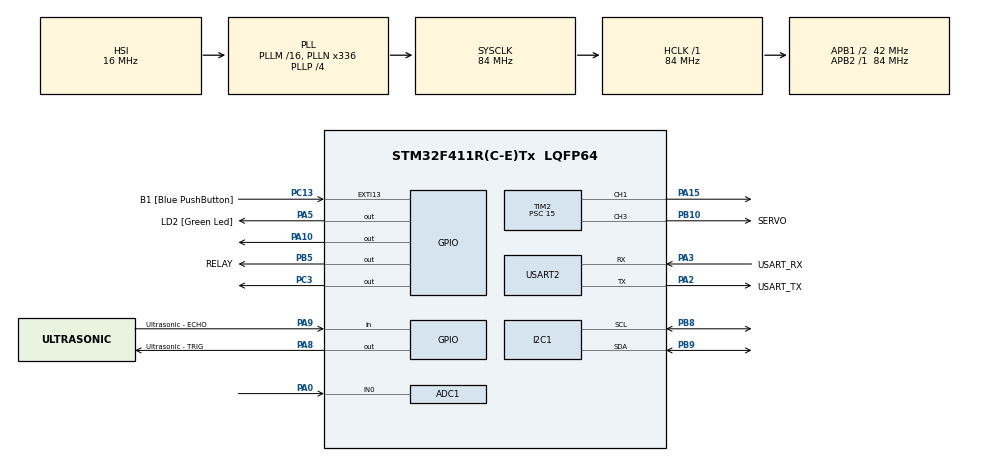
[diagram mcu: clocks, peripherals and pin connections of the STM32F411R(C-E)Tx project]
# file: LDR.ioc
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ADC1.Channel-0\#ChannelRegularConversion=ADC_CHANNEL_0
ADC1.ContinuousConvMode=ENABLE
ADC1.NbrOfConversionFlag=1
ADC1.Rank-0\#ChannelRegularConversion=1
ADC1.SamplingTime-0\#ChannelRegularConversion=ADC_SAMPLETIME_3CYCLES
ADC1.ScanConvMode=ENABLE
ADC1.master=1
Mcu.Family=STM32F4
Mcu.Name=STM32F411R(C-E)Tx
Mcu.Package=LQFP64
NVIC.PriorityGroup=NVIC_PRIORITYGROUP_0
PA0-WKUP.Signal=ADCx_IN0
PA10.Signal=GPIO_Output
PA13.GPIO_Label=TMS
PA13.Mode=Serial_Wire
PA13.Signal=SYS_JTMS-SWDIO
PA14.GPIO_Label=TCK
PA14.Mode=Serial_Wire
PA14.Signal=SYS_JTCK-SWCLK
PA15.Signal=S_TIM2_CH1_ETR
PA2.GPIO_Label=USART_TX
PA2.Mode=Asynchronous
PA2.Signal=USART2_TX
PA3.GPIO_Label=USART_RX
PA3.Mode=Asynchronous
PA3.Signal=USART2_RX
PA5.GPIO_Label=LD2 [Green Led]
PA5.Signal=GPIO_Output
PA8.GPIO_Label=Ultrasonic - TRIG
PA8.Signal=GPIO_Output
PA9.GPIO_Label=Ultrasonic - ECHO
PA9.Signal=GPIO_Input
PB10.GPIO_Label=SERVO
PB10.Signal=S_TIM2_CH3
PB3.GPIO_Label=SWO
PB3.Signal=SYS_JTDO-SWO
PB5.GPIO_Label=RELAY
PB5.Signal=GPIO_Output
PB8.Mode=I2C
PB8.Signal=I2C1_SCL
PB9.Mode=I2C
PB9.Signal=I2C1_SDA
PC13-ANTI_TAMP.GPIO_Label=B1 [Blue PushButton]
PC13-ANTI_TAMP.GPIO_ModeDefaultEXTI=GPIO_MODE_IT_FALLING
PC13-ANTI_TAMP.Signal=GPXTI13
PC14-OSC32_IN.Mode=LSE-External-Oscillator
PC14-OSC32_IN.Signal=RCC_OSC32_IN
PC15-OSC32_OUT.Mode=LSE-External-Oscillator
PC15-OSC32_OUT.Signal=RCC_OSC32_OUT
PC3.Signal=GPIO_Output
PH0\ -\ OSC_IN.Mode=HSE-External-Oscillator
PH0\ -\ OSC_IN.Signal=RCC_OSC_IN
PH1\ -\ OSC_OUT.Mode=HSE-External-Oscillator
PH1\ -\ OSC_OUT.Signal=RCC_OSC_OUT
ProjectManager.HeapSize=0x200
ProjectManager.StackSize=0x400
ProjectManager.TargetToolchain=STM32CubeIDE
RCC.48MHZClocksFreq_Value=84000000
RCC.AHBFreq_Value=84000000
RCC.APB1CLKDivider=RCC_HCLK_DIV2
RCC.APB1Freq_Value=42000000
RCC.APB1TimFreq_Value=84000000
RCC.APB2Freq_Value=84000000
RCC.APB2TimFreq_Value=84000000
RCC.CortexFreq_Value=84000000
RCC.FLatency-AdvancedSettings=FLASH_LATENCY_2
RCC.HCLKFreq_Value=84000000
RCC.HSE_VALUE=8000000
RCC.HSI_VALUE=16000000
RCC.PLLN=336
RCC.PLLP=RCC_PLLP_DIV4
RCC.SYSCLKFreq_VALUE=84000000
RCC.SYSCLKSource=RCC_SYSCLKSOURCE_PLLCLK
RCC.VCOOutputFreq_Value=336000000
SH.ADCx_IN0.0=ADC1_IN0,IN0
SH.S_TIM2_CH1_ETR.0=TIM2_CH1,PWM Generation1 CH1
SH.S_TIM2_CH3.0=TIM2_CH3,PWM Generation3 CH3
TIM2.AutoReloadPreload=TIM_AUTORELOAD_PRELOAD_ENABLE
TIM2.Channel-PWM\ Generation1\ CH1=TIM_CHANNEL_1
TIM2.Channel-PWM\ Generation3\ CH3=TIM_CHANNEL_3
TIM2.Period=9999
TIM2.Prescaler=15
TIM4.Period=0
TIM4.Prescaler=84-1
USART2.VirtualMode=VM_ASYNC
VP_TIM2_VS_ClockSourceINT.Mode=Internal
VP_TIM4_VS_ClockSourceINT.Mode=Internal
board=NUCLEO-F411RE

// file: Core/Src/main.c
/* USER CODE BEGIN Header */
/**
  ******************************************************************************
  * @file           : main.c
  * @brief          : Main program body
  ******************************************************************************
  * @attention
  *
  * Copyright (c) 2022 STMicroelectronics.
  * All rights reserved.
  *
  * This software is licensed under terms that can be found in the LICENSE file
  * in the root directory of this software component.
  * If no LICENSE file comes with this software, it is provided AS-IS.
  *
  ******************************************************************************
  */
/* USER CODE END Header */
#include "main.h"

/* USER CODE BEGIN Includes */
#include <string.h>
#include <stdio.h>
#include "liquidcrystal_i2c.h"
#include "../../ECUAL/SERVO/SERVO.h"
/* USER CODE END Includes */

/* USER CODE BEGIN PTD */
#define usTIM	TIM4
#define SERVO_Motor1 0
/* USER CODE END PTD */

ADC_HandleTypeDef hadc1;

I2C_HandleTypeDef hi2c1;

TIM_HandleTypeDef htim2;
TIM_HandleTypeDef htim4;

UART_HandleTypeDef huart2;

void SystemClock_Config(void);
static void MX_GPIO_Init(void);
static void MX_USART2_UART_Init(void);
static void MX_ADC1_Init(void);
static void MX_TIM4_Init(void);
static void MX_TIM2_Init(void);
static void MX_I2C1_Init(void);
/* USER CODE BEGIN PFP */
void usDelay(uint32_t uSec);
/* USER CODE END PFP */

/* USER CODE BEGIN 0 */
//Speed of sound in cm/usec
const float speedOfSound = 0.0343/2;
float distance;

char uartBuf[100];
/* USER CODE END 0 */

int main(void)
{
  /* USER CODE BEGIN 1 */
	uint32_t numTicks = 0;
	SERVO_Init(SERVO_Motor1);
  /* USER CODE END 1 */

  /* MCU Configuration--------------------------------------------------------*/

  /* Reset of all peripherals, Initializes the Flash interface and the Systick. */
  HAL_Init();

  /* Configure the system clock */
  SystemClock_Config();

  /* Initialize all configured peripherals */
  MX_GPIO_Init();
  MX_USART2_UART_Init();
  MX_ADC1_Init();
  MX_TIM4_Init();
  MX_TIM2_Init();
  MX_I2C1_Init();
  /* USER CODE BEGIN 2 */
  GPIO_TypeDef* TRIG_GPIO_Port = GPIOA;
  GPIO_TypeDef* ECHO_GPIO_Port = GPIOA;
  uint16_t TRIG_Pin = GPIO_PIN_8;
  uint16_t ECHO_Pin = GPIO_PIN_9;

  HAL_TIM_PWM_Start(&htim2, TIM_CHANNEL_1);
  HAL_TIM_PWM_Start(&htim2, TIM_CHANNEL_3);
  /* USER CODE END 2 */

  /* Infinite loop */
  /* USER CODE BEGIN WHILE */
  char buf[256];
  int ret;

  while (1)
  {
  	  HAL_ADC_Start(&hadc1);

	  if (HAL_ADC_PollForConversion(&hadc1, 1000) == HAL_OK) {
		  int ret = HAL_ADC_GetValue(&hadc1);
		  sprintf(buf, "Brightness = %d\r\n", ret);
		  if (ret > 3000) {
			  HAL_GPIO_WritePin(GPIOA, GPIO_PIN_10, GPIO_PIN_SET);
			  HAL_GPIO_WritePin(GPIOB, GPIO_PIN_5, 1);
			  HAL_Delay(500);
		  } else {
			  HAL_GPIO_WritePin(GPIOA, GPIO_PIN_10, GPIO_PIN_RESET);
			  HAL_GPIO_WritePin(GPIOB, GPIO_PIN_5, 0);
			  HAL_Delay(500);
		  }
		  HAL_UART_Transmit(&huart2, buf, strlen(buf), 1000);
		  HAL_Delay(1000);
	  }
    /* USER CODE END WHILE */

    /* USER CODE BEGIN 3 */
	//Set TRIG to LOW for few uSec
	HAL_GPIO_WritePin(TRIG_GPIO_Port, TRIG_Pin, GPIO_PIN_RESET);
	usDelay(3);

	//*** START Ultrasonic measure routine ***//
	//1. Output 10 usec TRIG
	HAL_GPIO_WritePin(TRIG_GPIO_Port, TRIG_Pin, GPIO_PIN_SET);
	usDelay(10);
	HAL_GPIO_WritePin(TRIG_GPIO_Port, TRIG_Pin, GPIO_PIN_RESET);

	//2. Wait for ECHO pin rising edge
	while(HAL_GPIO_ReadPin(ECHO_GPIO_Port, ECHO_Pin) == GPIO_PIN_RESET);

	//3. Start measuring ECHO pulse width in usec
	numTicks = 0;
	while(HAL_GPIO_ReadPin(ECHO_GPIO_Port, ECHO_Pin) == GPIO_PIN_SET)
	{
	  numTicks++;
	  usDelay(2); //2.8usec
	};

	 //4. Estimate distance in cm
	 distance = (numTicks + 0.0f)*2.8*speedOfSound;

	 if (distance < 10) {
		 TIM2->CCR1 = (2 << 20) / 2;

		  HD44780_Init(2);
		  HD44780_Clear();
		  HD44780_SetCursor(0,0);
		  HD44780_PrintStr("OK : PLEASE WALK");
		  HD44780_SetCursor(0,1);
		  HD44780_PrintStr("beware your step");

		  SERVO_MoveTo(SERVO_Motor1, 180);
		  HAL_Delay(300);

	 } else {
		 TIM2->CCR1 = 0;

		  HD44780_Init(2);
		  HD44780_Clear();
		  HD44780_SetCursor(0,0);
		  HD44780_PrintStr("! PLEASE  WAIT !");
		  HD44780_SetCursor(3,1);
		  HD44780_PrintStr("XXXXXXXXXX");

		  SERVO_MoveTo(SERVO_Motor1, 0);
		  HAL_Delay(300);

	 }

	 //5. Print to UART terminal for debugging
	 sprintf(uartBuf, "Distance (cm)  = %.1f\r\n", distance);
	 HAL_UART_Transmit(&huart2, (uint8_t *)uartBuf, strlen(uartBuf), 100);

	 HAL_Delay(1000);
  }
  /* USER CODE END 3 */
}

void SystemClock_Config(void)
{
  RCC_OscInitTypeDef RCC_OscInitStruct = {0};
  RCC_ClkInitTypeDef RCC_ClkInitStruct = {0};

  /** Configure the main internal regulator output voltage
  */
  __HAL_RCC_PWR_CLK_ENABLE();
  __HAL_PWR_VOLTAGESCALING_CONFIG(PWR_REGULATOR_VOLTAGE_SCALE1);

  /** Initializes the RCC Oscillators according to the specified parameters
  * in the RCC_OscInitTypeDef structure.
  */
  RCC_OscInitStruct.OscillatorType = RCC_OSCILLATORTYPE_HSI;
  RCC_OscInitStruct.HSIState = RCC_HSI_ON;
  RCC_OscInitStruct.HSICalibrationValue = RCC_HSICALIBRATION_DEFAULT;
  RCC_OscInitStruct.PLL.PLLState = RCC_PLL_ON;
  RCC_OscInitStruct.PLL.PLLSource = RCC_PLLSOURCE_HSI;
  RCC_OscInitStruct.PLL.PLLM = 16;
  RCC_OscInitStruct.PLL.PLLN = 336;
  RCC_OscInitStruct.PLL.PLLP = RCC_PLLP_DIV4;
  RCC_OscInitStruct.PLL.PLLQ = 4;
  if (HAL_RCC_OscConfig(&RCC_OscInitStruct) != HAL_OK)
  {
    Error_Handler();
  }

  /** Initializes the CPU, AHB and APB buses clocks
  */
  RCC_ClkInitStruct.ClockType = RCC_CLOCKTYPE_HCLK|RCC_CLOCKTYPE_SYSCLK
                              |RCC_CLOCKTYPE_PCLK1|RCC_CLOCKTYPE_PCLK2;
  RCC_ClkInitStruct.SYSCLKSource = RCC_SYSCLKSOURCE_PLLCLK;
  RCC_ClkInitStruct.AHBCLKDivider = RCC_SYSCLK_DIV1;
  RCC_ClkInitStruct.APB1CLKDivider = RCC_HCLK_DIV2;
  RCC_ClkInitStruct.APB2CLKDivider = RCC_HCLK_DIV1;

  if (HAL_RCC_ClockConfig(&RCC_ClkInitStruct, FLASH_LATENCY_2) != HAL_OK)
  {
    Error_Handler();
  }
}

static void MX_ADC1_Init(void)
{

  ADC_ChannelConfTypeDef sConfig = {0};

  /** Configure the global features of the ADC (Clock, Resolution, Data Alignment and number of conversion)
  */
  hadc1.Instance = ADC1;
  hadc1.Init.ClockPrescaler = ADC_CLOCK_SYNC_PCLK_DIV4;
  hadc1.Init.Resolution = ADC_RESOLUTION_12B;
  hadc1.Init.ScanConvMode = ENABLE;
  hadc1.Init.ContinuousConvMode = ENABLE;
  hadc1.Init.DiscontinuousConvMode = DISABLE;
  hadc1.Init.ExternalTrigConvEdge = ADC_EXTERNALTRIGCONVEDGE_NONE;
  hadc1.Init.ExternalTrigConv = ADC_SOFTWARE_START;
  hadc1.Init.DataAlign = ADC_DATAALIGN_RIGHT;
  hadc1.Init.NbrOfConversion = 1;
  hadc1.Init.DMAContinuousRequests = DISABLE;
  hadc1.Init.EOCSelection = ADC_EOC_SINGLE_CONV;
  if (HAL_ADC_Init(&hadc1) != HAL_OK)
  {
    Error_Handler();
  }

  /** Configure for the selected ADC regular channel its corresponding rank in the sequencer and its sample time.
  */
  sConfig.Channel = ADC_CHANNEL_0;
  sConfig.Rank = 1;
  sConfig.SamplingTime = ADC_SAMPLETIME_3CYCLES;
  if (HAL_ADC_ConfigChannel(&hadc1, &sConfig) != HAL_OK)
  {
    Error_Handler();
  }

}

static void MX_I2C1_Init(void)
{

  hi2c1.Instance = I2C1;
  hi2c1.Init.ClockSpeed = 100000;
  hi2c1.Init.DutyCycle = I2C_DUTYCYCLE_2;
  hi2c1.Init.OwnAddress1 = 0;
  hi2c1.Init.AddressingMode = I2C_ADDRESSINGMODE_7BIT;
  hi2c1.Init.DualAddressMode = I2C_DUALADDRESS_DISABLE;
  hi2c1.Init.OwnAddress2 = 0;
  hi2c1.Init.GeneralCallMode = I2C_GENERALCALL_DISABLE;
  hi2c1.Init.NoStretchMode = I2C_NOSTRETCH_DISABLE;
  if (HAL_I2C_Init(&hi2c1) != HAL_OK)
  {
    Error_Handler();
  }

}

static void MX_TIM2_Init(void)
{

  TIM_ClockConfigTypeDef sClockSourceConfig = {0};
  TIM_MasterConfigTypeDef sMasterConfig = {0};
  TIM_OC_InitTypeDef sConfigOC = {0};

  htim2.Instance = TIM2;
  htim2.Init.Prescaler = 15;
  htim2.Init.CounterMode = TIM_COUNTERMODE_UP;
  htim2.Init.Period = 9999;
  htim2.Init.ClockDivision = TIM_CLOCKDIVISION_DIV1;
  htim2.Init.AutoReloadPreload = TIM_AUTORELOAD_PRELOAD_ENABLE;
  if (HAL_TIM_Base_Init(&htim2) != HAL_OK)
  {
    Error_Handler();
  }
  sClockSourceConfig.ClockSource = TIM_CLOCKSOURCE_INTERNAL;
  if (HAL_TIM_ConfigClockSource(&htim2, &sClockSourceConfig) != HAL_OK)
  {
    Error_Handler();
  }
  if (HAL_TIM_PWM_Init(&htim2) != HAL_OK)
  {
    Error_Handler();
  }
  sMasterConfig.MasterOutputTrigger = TIM_TRGO_RESET;
  sMasterConfig.MasterSlaveMode = TIM_MASTERSLAVEMODE_DISABLE;
  if (HAL_TIMEx_MasterConfigSynchronization(&htim2, &sMasterConfig) != HAL_OK)
  {
    Error_Handler();
  }
  sConfigOC.OCMode = TIM_OCMODE_PWM1;
  sConfigOC.Pulse = 0;
  sConfigOC.OCPolarity = TIM_OCPOLARITY_HIGH;
  sConfigOC.OCFastMode = TIM_OCFAST_DISABLE;
  if (HAL_TIM_PWM_ConfigChannel(&htim2, &sConfigOC, TIM_CHANNEL_1) != HAL_OK)
  {
    Error_Handler();
  }
  if (HAL_TIM_PWM_ConfigChannel(&htim2, &sConfigOC, TIM_CHANNEL_3) != HAL_OK)
  {
    Error_Handler();
  }
  HAL_TIM_MspPostInit(&htim2);

}

static void MX_TIM4_Init(void)
{

  TIM_ClockConfigTypeDef sClockSourceConfig = {0};
  TIM_MasterConfigTypeDef sMasterConfig = {0};

  htim4.Instance = TIM4;
  htim4.Init.Prescaler = 84-1;
  htim4.Init.CounterMode = TIM_COUNTERMODE_UP;
  htim4.Init.Period = 0;
  htim4.Init.ClockDivision = TIM_CLOCKDIVISION_DIV1;
  htim4.Init.AutoReloadPreload = TIM_AUTORELOAD_PRELOAD_DISABLE;
  if (HAL_TIM_Base_Init(&htim4) != HAL_OK)
  {
    Error_Handler();
  }
  sClockSourceConfig.ClockSource = TIM_CLOCKSOURCE_INTERNAL;
  if (HAL_TIM_ConfigClockSource(&htim4, &sClockSourceConfig) != HAL_OK)
  {
    Error_Handler();
  }
  sMasterConfig.MasterOutputTrigger = TIM_TRGO_RESET;
  sMasterConfig.MasterSlaveMode = TIM_MASTERSLAVEMODE_DISABLE;
  if (HAL_TIMEx_MasterConfigSynchronization(&htim4, &sMasterConfig) != HAL_OK)
  {
    Error_Handler();
  }

}

static void MX_USART2_UART_Init(void)
{

  huart2.Instance = USART2;
  huart2.Init.BaudRate = 115200;
  huart2.Init.WordLength = UART_WORDLENGTH_8B;
  huart2.Init.StopBits = UART_STOPBITS_1;
  huart2.Init.Parity = UART_PARITY_NONE;
  huart2.Init.Mode = UART_MODE_TX_RX;
  huart2.Init.HwFlowCtl = UART_HWCONTROL_NONE;
  huart2.Init.OverSampling = UART_OVERSAMPLING_16;
  if (HAL_UART_Init(&huart2) != HAL_OK)
  {
    Error_Handler();
  }

}

static void MX_GPIO_Init(void)
{
  GPIO_InitTypeDef GPIO_InitStruct = {0};

  /* GPIO Ports Clock Enable */
  __HAL_RCC_GPIOC_CLK_ENABLE();
  __HAL_RCC_GPIOH_CLK_ENABLE();
  __HAL_RCC_GPIOA_CLK_ENABLE();
  __HAL_RCC_GPIOB_CLK_ENABLE();

  /*Configure GPIO pin Output Level */
  HAL_GPIO_WritePin(GPIOC, GPIO_PIN_3, GPIO_PIN_RESET);

  /*Configure GPIO pin Output Level */
  HAL_GPIO_WritePin(GPIOA, LD2_Pin|Ultrasonic___TRIG_Pin|GPIO_PIN_10, GPIO_PIN_RESET);

  /*Configure GPIO pin Output Level */
  HAL_GPIO_WritePin(RELAY_GPIO_Port, RELAY_Pin, GPIO_PIN_RESET);

  /*Configure GPIO pin : B1_Pin */
  GPIO_InitStruct.Pin = B1_Pin;
  GPIO_InitStruct.Mode = GPIO_MODE_IT_FALLING;
  GPIO_InitStruct.Pull = GPIO_NOPULL;
  HAL_GPIO_Init(B1_GPIO_Port, &GPIO_InitStruct);

  /*Configure GPIO pin : PC3 */
  GPIO_InitStruct.Pin = GPIO_PIN_3;
  GPIO_InitStruct.Mode = GPIO_MODE_OUTPUT_PP;
  GPIO_InitStruct.Pull = GPIO_NOPULL;
  GPIO_InitStruct.Speed = GPIO_SPEED_FREQ_LOW;
  HAL_GPIO_Init(GPIOC, &GPIO_InitStruct);

  /*Configure GPIO pins : LD2_Pin Ultrasonic___TRIG_Pin PA10 */
  GPIO_InitStruct.Pin = LD2_Pin|Ultrasonic___TRIG_Pin|GPIO_PIN_10;
  GPIO_InitStruct.Mode = GPIO_MODE_OUTPUT_PP;
  GPIO_InitStruct.Pull = GPIO_NOPULL;
  GPIO_InitStruct.Speed = GPIO_SPEED_FREQ_LOW;
  HAL_GPIO_Init(GPIOA, &GPIO_InitStruct);

  /*Configure GPIO pin : Ultrasonic___ECHO_Pin */
  GPIO_InitStruct.Pin = Ultrasonic___ECHO_Pin;
  GPIO_InitStruct.Mode = GPIO_MODE_INPUT;
  GPIO_InitStruct.Pull = GPIO_NOPULL;
  HAL_GPIO_Init(Ultrasonic___ECHO_GPIO_Port, &GPIO_InitStruct);

  /*Configure GPIO pin : RELAY_Pin */
  GPIO_InitStruct.Pin = RELAY_Pin;
  GPIO_InitStruct.Mode = GPIO_MODE_OUTPUT_PP;
  GPIO_InitStruct.Pull = GPIO_NOPULL;
  GPIO_InitStruct.Speed = GPIO_SPEED_FREQ_LOW;
  HAL_GPIO_Init(RELAY_GPIO_Port, &GPIO_InitStruct);

}

/* USER CODE BEGIN 4 */
void usDelay(uint32_t uSec)
{
	if(uSec < 2) uSec = 2;
	usTIM->ARR = uSec - 1; 	/*sets the value in the auto-reload register*/
	usTIM->EGR = 1; 			/*Re-initialises the timer*/
	usTIM->SR &= ~1; 		//Resets the flag
	usTIM->CR1 |= 1; 		//Enables the counter
	while((usTIM->SR&0x0001) != 1);
	usTIM->SR &= ~(0x0001);
}
/* USER CODE END 4 */

void Error_Handler(void)
{
  __disable_irq();
  while (1)
  {
  }
}
